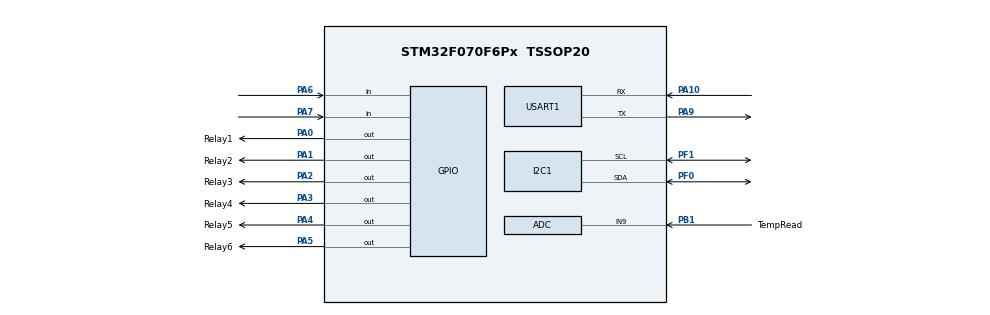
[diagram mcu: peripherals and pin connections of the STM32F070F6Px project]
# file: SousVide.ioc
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Mcu.Family=STM32F0
Mcu.Name=STM32F070F6Px
Mcu.Package=TSSOP20
PA0.GPIO_Label=Relay1
PA0.Signal=GPIO_Output
PA1.GPIO_Label=Relay2
PA1.Signal=GPIO_Output
PA10.Mode=Asynchronous
PA10.Signal=USART1_RX
PA13.Mode=Serial_Wire
PA13.Signal=SYS_SWDIO
PA14.Mode=Serial_Wire
PA14.Signal=SYS_SWCLK
PA2.GPIO_Label=Relay3
PA2.Signal=GPIO_Output
PA3.GPIO_Label=Relay4
PA3.Signal=GPIO_Output
PA4.GPIO_Label=Relay5
PA4.Signal=GPIO_Output
PA5.GPIO_Label=Relay6
PA5.Signal=GPIO_Output
PA6.GPIO_PuPd=GPIO_PULLDOWN
PA6.Signal=GPIO_Input
PA7.GPIO_PuPd=GPIO_PULLDOWN
PA7.Signal=GPIO_Input
PA9.Mode=Asynchronous
PA9.Signal=USART1_TX
PB1.GPIO_Label=TempRead
PB1.Mode=IN9
PB1.Signal=ADC_IN9
PF0-OSC_IN.Mode=I2C
PF0-OSC_IN.Signal=I2C1_SDA
PF1-OSC_OUT.Mode=I2C
PF1-OSC_OUT.Signal=I2C1_SCL
ProjectManager.HeapSize=0x200
ProjectManager.StackSize=0x400
ProjectManager.TargetToolchain=MDK-ARM V5
USART1.VirtualMode=VM_ASYNC
board=SousVide

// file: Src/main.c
/**
  ******************************************************************************
  * File Name          : main.c
  * Description        : Main program body
  ******************************************************************************
  ** This notice applies to any and all portions of this file
  * that are not between comment pairs USER CODE BEGIN and
  * USER CODE END. Other portions of this file, whether
  * inserted by the user or by software development tools
  * are owned by their respective copyright owners.
  *
  * COPYRIGHT(c) 2018 STMicroelectronics
  *
  * Redistribution and use in source and binary forms, with or without modification,
  * are permitted provided that the following conditions are met:
  *   1. Redistributions of source code must retain the above copyright notice,
  *      this list of conditions and the following disclaimer.
  *   2. Redistributions in binary form must reproduce the above copyright notice,
  *      this list of conditions and the following disclaimer in the documentation
  *      and/or other materials provided with the distribution.
  *   3. Neither the name of STMicroelectronics nor the names of its contributors
  *      may be used to endorse or promote products derived from this software
  *      without specific prior written permission.
  *
  * THIS SOFTWARE IS PROVIDED BY THE COPYRIGHT HOLDERS AND CONTRIBUTORS "AS IS"
  * AND ANY EXPRESS OR IMPLIED WARRANTIES, INCLUDING, BUT NOT LIMITED TO, THE
  * IMPLIED WARRANTIES OF MERCHANTABILITY AND FITNESS FOR A PARTICULAR PURPOSE ARE
  * DISCLAIMED. IN NO EVENT SHALL THE COPYRIGHT HOLDER OR CONTRIBUTORS BE LIABLE
  * FOR ANY DIRECT, INDIRECT, INCIDENTAL, SPECIAL, EXEMPLARY, OR CONSEQUENTIAL
  * DAMAGES (INCLUDING, BUT NOT LIMITED TO, PROCUREMENT OF SUBSTITUTE GOODS OR
  * SERVICES; LOSS OF USE, DATA, OR PROFITS; OR BUSINESS INTERRUPTION) HOWEVER
  * CAUSED AND ON ANY THEORY OF LIABILITY, WHETHER IN CONTRACT, STRICT LIABILITY,
  * OR TORT (INCLUDING NEGLIGENCE OR OTHERWISE) ARISING IN ANY WAY OUT OF THE USE
  * OF THIS SOFTWARE, EVEN IF ADVISED OF THE POSSIBILITY OF SUCH DAMAGE.
  *
  ******************************************************************************
  */
#include "main.h"
#include "stm32f0xx_hal.h"
#include "adc.h"
#include "i2c.h"
#include "usart.h"
#include "gpio.h"

/* USER CODE BEGIN Includes */
#include "i2c-lcd.h"
#include "string.h"
#include "math.h"
/* USER CODE END Includes */

/* USER CODE BEGIN PV */
/* Private variables ---------------------------------------------------------*/

/* USER CODE END PV */

void SystemClock_Config(void);

/* USER CODE BEGIN PFP */
/* Private function prototypes -----------------------------------------------*/

/* USER CODE END PFP */

/* USER CODE BEGIN 0 */

/************************************************************************************/
//	*		Thermistor Temperature Polling
/************************************************************************************/
float getTemp(void)
{
	/*
	#define Resistor 1487 //thermistor is the top part of a resistor divider, this value is the bottom fixed value

	uint16_t thermistorReading;
	HAL_ADC_Start(&hadc);
	HAL_ADC_PollForConversion(&hadc,5);
	thermistorReading = HAL_ADC_GetValue(&hadc);
	HAL_ADC_Stop(&hadc);

	double thermistorResistance = (6142500/(double)thermistorReading)-Resistor;
	double y = 3969/(log(thermistorResistance/(10000*exp(-3969/298.15))))-273.15;
	return (float)y;
	*/

	#define TEMPERATURENOMINAL 25	 //ambient temp in kelvin
	#define BCOEFFICIENT 3969			 //B constant
	#define THERMISTORNOMINAL 10000		 //resistance at 25c
	#define RESISTOR 1487 //thermistor is the top part of a resistor divider, this value is the bottom fixed value

	//get thermistor reading
	uint16_t thermistorReading;
	HAL_ADC_Start(&hadc);
	HAL_ADC_PollForConversion(&hadc,5);
	thermistorReading = HAL_ADC_GetValue(&hadc);
	HAL_ADC_Stop(&hadc);

	//Vout = Vin * (R2/R1+R1)
	//find resistance of thermistor using adc reading.  Simple resistor divider, solving for R1 using	  	R2 = 1487	 	Vin = 4096 		Vout = thermistorReading
	double resistor = ((((double)4095.0)/((double)thermistorReading))-1)* RESISTOR;

	//solve for temperature using 		1/T = (1/To) + (1/B)*ln(R/Ro)
	double steinhart;
  steinhart = resistor / THERMISTORNOMINAL;     // (R/Ro)
  steinhart = log(steinhart);                  // ln(R/Ro)
  steinhart /= BCOEFFICIENT;                   // 1/B * ln(R/Ro)
  steinhart += 1.0 / (TEMPERATURENOMINAL + 273.15); // + (1/To)
  steinhart = 1.0 / steinhart;                 // Invert
  steinhart -= 273.15;                         // convert to C

	return (float)steinhart;
}

/*************************************END********************************************/

/************************************************************************************/
//	*		Calculate Hours, Minutes and Seconds Components from Total Seconds
/************************************************************************************/
void getTime(uint32_t totalSeconds,uint16_t* hours,uint16_t* minutes,uint16_t* seconds)
{
	*hours = totalSeconds / 3600;
	*minutes = (totalSeconds / 60) % 60;
	*seconds	= totalSeconds % 60;
}

/*************************************END********************************************/

/************************************************************************************/
//	*		Calculate Total Seconds from Hours, Minutes and Seconds Components
/************************************************************************************/
void setTime(uint32_t* totalSeconds,uint16_t hours,uint16_t minutes,uint16_t seconds)
{
	*totalSeconds = seconds+(((hours*60)+minutes)*60);
}
/*************************************END********************************************/

/************************************************************************************/
//	*		Update LCD
/************************************************************************************/
void updateLCD(uint8_t lengthTop,uint8_t lengthBottom,char* topStr,char* bottomStr)
{
	lcd_send_cmd (0x01);  // clear the display
	HAL_Delay (5);

	lcd_send_cmd (0x80);  // goto row 1
	lcd_transmit(lengthTop,topStr);

	lcd_send_cmd (0xc0); //go to row 2
	lcd_transmit(lengthBottom,bottomStr);
}

/*************************************END********************************************/

/************************************************************************************/
//	*		Button Press
/************************************************************************************/
enum buttonPresses
{
	NOPRESS = 0,
	CENTER = 1,
	LEFT = 2,
	RIGHT = 3
};
enum buttonPresses buttonPress;
uint8_t getButtonPress (void)
{
	#define queueSize 100
	static uint8_t queue[queueSize] = {0};

				//GPIO Readings
	static uint8_t buttonRead;
	if (HAL_GPIO_ReadPin(GPIOA,GPIO_PIN_6) == 1 && HAL_GPIO_ReadPin(GPIOA,GPIO_PIN_7 == 1))
	{
		buttonRead = CENTER;
	}
	else if(HAL_GPIO_ReadPin(GPIOA,GPIO_PIN_6) == 1)
	{
		buttonRead = LEFT;
	}
	else if(HAL_GPIO_ReadPin(GPIOA,GPIO_PIN_7) == 1)
	{
		buttonRead = RIGHT;
	}
	else
	{
		buttonRead = NOPRESS;
	}

		//Queue Calculations
	for (uint8_t i=0;i<queueSize-1;i++)
	{
		queue[i] = queue[i+1];
	}
	queue[queueSize-1] = buttonRead;
	static uint8_t totalButtonReads[4];
	for(uint8_t i=0;i<4;i++)
	{
		totalButtonReads[i] = 0;		;
	}
	for (uint8_t i=0;i<queueSize;i++)
	{
		if (queue[i] == NOPRESS) totalButtonReads[NOPRESS]++;
		else if (queue[i] == CENTER) totalButtonReads[CENTER]++;
		else if (queue[i] == LEFT) totalButtonReads[LEFT]++;
		else if (queue[i] == RIGHT) totalButtonReads[CENTER]++;
	}
	static uint8_t filteredReading;
	if (totalButtonReads[NOPRESS] > totalButtonReads[CENTER])
	{
		filteredReading  = NOPRESS;
	}
	else
	{
		filteredReading = CENTER;
	}
	if (totalButtonReads[LEFT] > totalButtonReads[filteredReading])
	{
		filteredReading = LEFT;
	}
	if (totalButtonReads[RIGHT] > totalButtonReads[filteredReading])
	{
		filteredReading = RIGHT;
	}

		//Schmitt Trigger
	static uint8_t buttonPress = 0;
	if ((buttonPress == NOPRESS ) && (filteredReading != NOPRESS))
	{
		if (totalButtonReads[filteredReading] > queueSize*70/100)
		{
			buttonPress = filteredReading;
		}
	}
	else if (buttonPress == filteredReading)
	{
		if (totalButtonReads[filteredReading] < queueSize*30/100)
		{
			buttonPress = NOPRESS;
		}
	}
	return buttonPress;
}

/*************************************END********************************************/

/* USER CODE END 0 */

int main(void)
{

  /* MCU Configuration----------------------------------------------------------*/

  /* Reset of all peripherals, Initializes the Flash interface and the Systick. */
  HAL_Init();

  /* Configure the system clock */
  SystemClock_Config();

  /* Initialize all configured peripherals */
  MX_GPIO_Init();
  MX_USART1_UART_Init();
  MX_I2C1_Init();
  MX_ADC_Init();

  /* USER CODE BEGIN 2 */

/************************************************************************************/
//	*		Init LCD and Times
/************************************************************************************/
		HAL_Delay(100);	//short startup delay
		lcd_init();	//initialize the LCD;

		uint16_t hours = 3;	//hour component of time, used for easy UI
		uint16_t minutes = 1;	//minute component of time, used for easy UI
		uint16_t seconds = 1;	//second component of time, used for easy UI
		uint32_t totalSeconds = 300;	//total seconds, used internally for all calculations

		char outputTop[40];
		uint8_t lengthTop;
		char outputBottom[40];
		uint8_t lengthBottom;
		int leftTemp;	//value left of decimal, done so only 1 decimal place of the float is shown
		int rightTemp;	//value right of decimal, done so only 1 decimal place of the float is shown
		int leftSetTemp;	//value left of decimal, done so only 1 decimal place of the float is shown
		int rightSetTemp;	//value right of decimal, done so only 1 decimal place of the float is shown
/*************************************END********************************************/

/************************************************************************************/
//	*		Init Temp Variables
/************************************************************************************/

		float temp;	//temperature
		float filteredTemp;	//temperature after LPF
		float setTemp = 52.5;	//goal temperature, defaults 25
		filteredTemp = getTemp(); 	//initialize filtered temp as it uses hysterysis
/*************************************END********************************************/

/************************************************************************************/
//	*		Init State Machine
/************************************************************************************/
		enum states		{	//input states are where values are being changed;
			Startup = 0,
			Main = 1,
			MainInput = 2,
			Extra = 3,
			ExtraInput = 4
		};
		enum states state = Startup;
		enum states pastState = Startup;
/*************************************END********************************************/

/************************************************************************************/
//	*		Init Miscellaneous
/************************************************************************************/
		uint8_t counter = 0; //generic counter for use
		uint8_t button = NOPRESS;	//stores the buttonPress
		uint8_t pastButton = NOPRESS;	//stores the buttonPress
		uint8_t relayEnable[6] = {1,1,1,1,1,1};
/*************************************END********************************************/

  /* USER CODE END 2 */

  /* Infinite loop */
  while (1)
  {

  /* USER CODE BEGIN 3 */

		HAL_Delay(170);

/************************************************************************************/
//	*		Time Update, Temperature Read and Button press
/************************************************************************************/
			//Time
		static uint32_t secondTimestamp = 0;
		if (HAL_GetTick() - secondTimestamp > 1000)	//decrements totalSeconds every second
		{
			secondTimestamp = HAL_GetTick();
			totalSeconds = totalSeconds - 1;
		}
		getTime(totalSeconds,&hours,&minutes,&seconds);	//updateLCD hours/minuets and seconds

			//Temperature
		temp = getTemp();  //read Thermistor
		filteredTemp = (temp + filteredTemp * 9)/10;	//LPF for more stability in readings

		//maxing significant figures of readings at 1 by breaking up readings into 'left of the decimal point' and 'right of the decimal point'

		leftTemp = (int) filteredTemp;	//remove anything right of the decimal by converting to int
		rightTemp = (int)((filteredTemp - (int) filteredTemp)*10);	//remove whatevers left of the decimal by subtracting (int)filteredTemp then multiplying whats left by 10 which brings the first sig fig to the left of the decimal point, then finally converting to int which leaves only the first sig remaining as an integer

		leftSetTemp = (int) setTemp;	//remove anything right of the decimal
		rightSetTemp = (int)((setTemp - (int) setTemp)*10);	//remove whatevers left of the decimal by subtracting (int)filteredTemp then multiplying whats left by 10 which brings the first sig fig to the left of the decimal point, then finally converting to int which leaves only the first sig remaining as an integer

			//Button Press
		pastButton = button;
		button = getButtonPress();
/*************************************END********************************************/

/************************************************************************************/
//	*		Next State Logic
/************************************************************************************/
		switch(pastState)
		{
			case Startup:
				if (HAL_GetTick() > 3000)	//show for the first 2 seconds or so
				{
					state = Main;
				}
				break;

			case Main:
				if(button == CENTER)
				{
					state = MainInput;
				}
				else if (button == 1 || button ==  2)
				{
					state = Extra;
				}
				if (HAL_GetTick() > 6000)	//show for the first 2 seconds or so
				{

				}
				break;

			case MainInput:
				if (counter >= 9)
				{
					counter = 0;
					state = Main;
				}
				break;

			case Extra:
				if(button == CENTER)
				{
					state = MainInput;
				}
				else if (button == 1 || button ==  2)
				{
					state = Extra;
				}
				break;

			case ExtraInput:
				if (counter >= 9)
				{
					counter = 0;
					state = Extra;
				}
				break;

			default:
				break;
		}
/*************************************END********************************************/

/************************************************************************************/
//	*		State Logic
/************************************************************************************/
		switch(state)
		{
			case Startup:
				lengthTop = sprintf(outputTop,"Hello!");
				lengthBottom = sprintf(outputBottom,"M.Yabz-SousVide");
				updateLCD(lengthTop,lengthBottom,outputTop,outputBottom);
				break;

			case Main:
				lengthTop = sprintf(outputTop,"%ih %im %is",hours,minutes,seconds);//output time
				lengthBottom = sprintf(outputBottom,"T:%i.%i Set:%i.%i",leftTemp,rightTemp,leftSetTemp,rightSetTemp);//output current temp and set temp
				updateLCD(lengthTop,lengthBottom,outputTop,outputBottom);
				break;

			case MainInput:
			if (button != pastButton && button == CENTER)
			{
				counter++;
			}
				switch (counter)
				{
					case 0:
						lengthTop = sprintf(outputTop,"%ch %im %is",255,minutes,seconds);//output time
						lengthBottom = sprintf(outputBottom,"T:%i.%i Set:%i.%i",leftTemp,rightTemp,leftSetTemp,rightSetTemp);//output current temp and set temp
						if (button != pastButton && button == LEFT)
						{
							totalSeconds -= 3600;
						}
						else if (button != pastButton && button == RIGHT)
						{
							totalSeconds += 3600;
						}
						break;

					case 1:
						lengthTop = sprintf(outputTop,"%ih %cm %is",hours,255,seconds);//output time
						lengthBottom = sprintf(outputBottom,"T:%i.%i Set:%i.%i",leftTemp,rightTemp,leftSetTemp,rightSetTemp);//output current temp and set temp
						if (button != pastButton && button == LEFT)
						{
							totalSeconds -= 600;
						}
						else if (button != pastButton && button == RIGHT)
						{
							totalSeconds += 600;
						}
						break;

					case 2:
						lengthTop = sprintf(outputTop,"%ih %cm %is",hours,255,seconds);//output time
						lengthBottom = sprintf(outputBottom,"T:%i.%i Set:%i.%i",leftTemp,rightTemp,leftSetTemp,rightSetTemp);//output current temp and set temp
						if (button != pastButton && button == LEFT)
						{
							totalSeconds += 60;
						}
						else if (button != pastButton && button == RIGHT)
						{
							totalSeconds -= 60;
						}
						break;

					case 3:
						lengthTop = sprintf(outputTop,"%ih %im %cs",hours,minutes,255);//output time
						lengthBottom = sprintf(outputBottom,"T:%i.%i Set:%i.%i",leftTemp,rightTemp,leftSetTemp,rightSetTemp);//output current temp and set temp
						if (button != pastButton && button == LEFT)
						{
							totalSeconds -= 10;
						}
						else if (button != pastButton && button == RIGHT)
						{
							totalSeconds += 10;
						}
						break;

					case 4:
						lengthTop = sprintf(outputTop,"%ih %im %cs",hours,minutes,255);//output time
						lengthBottom = sprintf(outputBottom,"T:%i.%i Set:%i.%i",leftTemp,rightTemp,leftSetTemp,rightSetTemp);//output current temp and set temp
						if (button != pastButton && button == LEFT)
						{
							totalSeconds -= 1;
						}
						else if (button != pastButton && button == RIGHT)
						{
							totalSeconds += 1;
						}
						break;

					case 5:
						lengthTop = sprintf(outputTop,"%ih %im %is",hours,minutes,seconds);//output time
						lengthBottom = sprintf(outputBottom,"T:%i.%i Set:%c.%i",leftTemp,rightTemp,255,rightSetTemp);//output current temp and set temp
						if (button != pastButton && button == LEFT)
						{
							setTemp -= 5;
						}
						else if (button != pastButton && button == RIGHT)
						{
							setTemp += 5;
						}
						break;

						case 6:
						lengthTop = sprintf(outputTop,"%ih %im %is",hours,minutes,seconds);//output time
						lengthBottom = sprintf(outputBottom,"T:%i.%i Set:%c.%i",leftTemp,rightTemp,255,rightSetTemp);//output current temp and set temp
						if (button != pastButton && button == LEFT)
						{
							setTemp -= 1;
						}
						else if (button != pastButton && button == RIGHT)
						{
							setTemp += 1;
						}
						break;

					case 7:
						lengthTop = sprintf(outputTop,"%ih %im %is",hours,minutes,seconds);//output time
						lengthBottom = sprintf(outputBottom,"T:%i.%i Set:%i.%c",leftTemp,rightTemp,leftSetTemp,255);//output current temp and set temp
						if (button != pastButton && button == LEFT)
						{
							setTemp -= 0.5;
						}
						else if (button != pastButton && button == RIGHT)
						{
							setTemp += 0.5;
						}
						break;

					case 8:
						lengthTop = sprintf(outputTop,"%ih %im %is",hours,minutes,seconds);//output time
						lengthBottom = sprintf(outputBottom,"T:%i.%i Set:%i.%c",leftTemp,rightTemp,leftSetTemp,255);//output current temp and set temp
						if (button != pastButton && button == LEFT)
						{
							setTemp -= 0.1;
						}
						else if (button != pastButton && button == RIGHT)
						{
							setTemp += 0.1;
						}
						break;

					default:
					break;
				}
				if (HAL_GetTick() - secondTimestamp > 300)
				{
					lengthTop = sprintf(outputTop,"%ih %im %is",hours,minutes,seconds);//output time
					lengthBottom = sprintf(outputBottom,"T:%i.%i Set:%i.%i",leftTemp,rightTemp,leftSetTemp,rightSetTemp);//output current temp and set temp
				}
				updateLCD(lengthTop,lengthBottom,outputTop,outputBottom);
				break;

			case Extra:
				lengthTop = sprintf(outputTop,"R1:%i R2:%i R3:%i",relayEnable[0],relayEnable[1],relayEnable[2]);//output time
				lengthBottom = sprintf(outputBottom,"R4:%i R5:%i R6:%i ",relayEnable[3],relayEnable[4],relayEnable[5]);//output current temp and set temp
				updateLCD(lengthTop,lengthBottom,outputTop,outputBottom);
				break;

			case ExtraInput:
				if (button != pastButton && button == CENTER)
				{
					counter++;
				}
				switch(button)
				{
					case 0:
						lengthTop = sprintf(outputTop,"R1:%c R2:%i R3:%i",255,relayEnable[1],relayEnable[2]);//output time
						lengthBottom = sprintf(outputBottom,"R4:%i R5:%i R6:%i ",relayEnable[3],relayEnable[4],relayEnable[5]);//output current temp and set temp
					break;

					case 1:
						lengthTop = sprintf(outputTop,"R1:%i R2:%c R3:%i",relayEnable[0],255,relayEnable[2]);//output time
						lengthBottom = sprintf(outputBottom,"R4:%i R5:%i R6:%i ",relayEnable[3],relayEnable[4],relayEnable[5]);//output current temp and set temp
					break;

					case 2:
						lengthTop = sprintf(outputTop,"R1:%i R2:%i R3:%c",relayEnable[0],relayEnable[1],255);//output time
						lengthBottom = sprintf(outputBottom,"R4:%i R5:%i R6:%i ",relayEnable[3],relayEnable[4],relayEnable[5]);//output current temp and set temp
					break;

					case 3:
						lengthTop = sprintf(outputTop,"R1:%i R2:%i R3:%i",relayEnable[0],relayEnable[1],relayEnable[2]);//output time
						lengthBottom = sprintf(outputBottom,"R4:%c R5:%i R6:%i ",255,relayEnable[4],relayEnable[5]);//output current temp and set temp
					break;

					case 4:
						lengthTop = sprintf(outputTop,"R1:%i R2:%i R3:%i",relayEnable[0],relayEnable[1],relayEnable[2]);//output time
						lengthBottom = sprintf(outputBottom,"R4:%i R5:%c R6:%i ",relayEnable[3],255,relayEnable[5]);//output current temp and set temp
					break;

					case 5:
						lengthTop = sprintf(outputTop,"R1:%i R2:%i R3:%i",relayEnable[0],relayEnable[1],relayEnable[2]);//output time
						lengthBottom = sprintf(outputBottom,"R4:%i R5:%i R6:%c ",relayEnable[3],relayEnable[4],255);//output current temp and set temp
					break;

					default:
					break;
				}
				if (HAL_GetTick() - secondTimestamp > 300)
				{
					lengthTop = sprintf(outputTop,"R1:%i R2:%i R3:%i",relayEnable[0],relayEnable[1],relayEnable[2]);//output time
					lengthBottom = sprintf(outputBottom,"R4:%i R5:%i R6:%i ",relayEnable[3],relayEnable[4],relayEnable[5]);//output current temp and set temp
				}
				updateLCD(lengthTop,lengthBottom,outputTop,outputBottom);
				break;

			default:
				break;
		}
		pastState = state;
/*************************************END********************************************/

/************************************************************************************/
//	*		Heater On/Off Logic
/************************************************************************************/

		//Only setup for one Heater now, PID will be implented here

		if (filteredTemp < setTemp)
		{
			HAL_GPIO_WritePin(GPIOA,GPIO_PIN_0,GPIO_PIN_SET);
		}
		else
		{
			HAL_GPIO_WritePin(GPIOA,GPIO_PIN_0,GPIO_PIN_RESET);
		}
/*************************************END********************************************/

  }
  /* USER CODE END 3 */

}

/** System Clock Configuration
*/
void SystemClock_Config(void)
{

  RCC_OscInitTypeDef RCC_OscInitStruct;
  RCC_ClkInitTypeDef RCC_ClkInitStruct;
  RCC_PeriphCLKInitTypeDef PeriphClkInit;

    /**Initializes the CPU, AHB and APB busses clocks
    */
  RCC_OscInitStruct.OscillatorType = RCC_OSCILLATORTYPE_HSI|RCC_OSCILLATORTYPE_HSI14;
  RCC_OscInitStruct.HSIState = RCC_HSI_ON;
  RCC_OscInitStruct.HSI14State = RCC_HSI14_ON;
  RCC_OscInitStruct.HSICalibrationValue = 16;
  RCC_OscInitStruct.HSI14CalibrationValue = 16;
  RCC_OscInitStruct.PLL.PLLState = RCC_PLL_NONE;
  if (HAL_RCC_OscConfig(&RCC_OscInitStruct) != HAL_OK)
  {
    _Error_Handler(__FILE__, __LINE__);
  }

    /**Initializes the CPU, AHB and APB busses clocks
    */
  RCC_ClkInitStruct.ClockType = RCC_CLOCKTYPE_HCLK|RCC_CLOCKTYPE_SYSCLK
                              |RCC_CLOCKTYPE_PCLK1;
  RCC_ClkInitStruct.SYSCLKSource = RCC_SYSCLKSOURCE_HSI;
  RCC_ClkInitStruct.AHBCLKDivider = RCC_SYSCLK_DIV1;
  RCC_ClkInitStruct.APB1CLKDivider = RCC_HCLK_DIV1;

  if (HAL_RCC_ClockConfig(&RCC_ClkInitStruct, FLASH_LATENCY_0) != HAL_OK)
  {
    _Error_Handler(__FILE__, __LINE__);
  }

  PeriphClkInit.PeriphClockSelection = RCC_PERIPHCLK_USART1|RCC_PERIPHCLK_I2C1;
  PeriphClkInit.Usart1ClockSelection = RCC_USART1CLKSOURCE_PCLK1;
  PeriphClkInit.I2c1ClockSelection = RCC_I2C1CLKSOURCE_HSI;
  if (HAL_RCCEx_PeriphCLKConfig(&PeriphClkInit) != HAL_OK)
  {
    _Error_Handler(__FILE__, __LINE__);
  }

    /**Configure the Systick interrupt time
    */
  HAL_SYSTICK_Config(HAL_RCC_GetHCLKFreq()/1000);

    /**Configure the Systick
    */
  HAL_SYSTICK_CLKSourceConfig(SYSTICK_CLKSOURCE_HCLK);

  /* SysTick_IRQn interrupt configuration */
  HAL_NVIC_SetPriority(SysTick_IRQn, 0, 0);
}

void _Error_Handler(char * file, int line)
{
  while(1)
  {
  }
}

/************************ (C) COPYRIGHT STMicroelectronics *****END OF FILE****/
